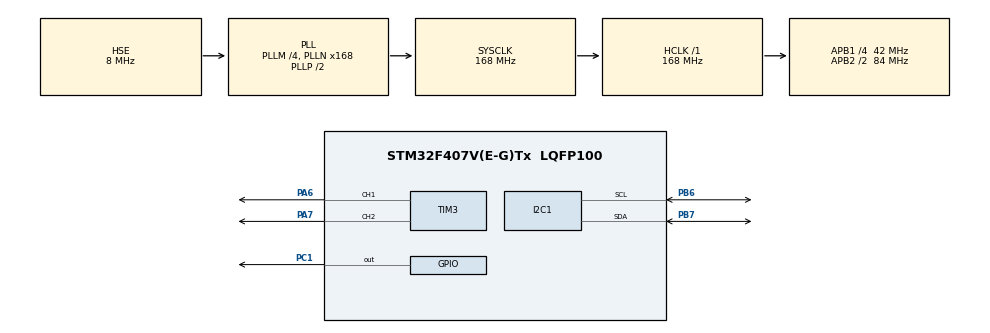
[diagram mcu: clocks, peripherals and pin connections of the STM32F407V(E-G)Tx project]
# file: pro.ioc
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Mcu.Family=STM32F4
Mcu.Name=STM32F407V(E-G)Tx
Mcu.Package=LQFP100
NVIC.PriorityGroup=NVIC_PRIORITYGROUP_4
PA6.Signal=S_TIM3_CH1
PA7.Signal=S_TIM3_CH2
PB6.Mode=I2C
PB6.Signal=I2C1_SCL
PB7.Mode=I2C
PB7.Signal=I2C1_SDA
PC1.Signal=GPIO_Output
PH0-OSC_IN.Mode=HSE-External-Oscillator
PH0-OSC_IN.Signal=RCC_OSC_IN
PH1-OSC_OUT.Mode=HSE-External-Oscillator
PH1-OSC_OUT.Signal=RCC_OSC_OUT
ProjectManager.HeapSize=0x200
ProjectManager.StackSize=0x400
ProjectManager.TargetToolchain=CMake
RCC.48MHZClocksFreq_Value=84000000
RCC.AHBFreq_Value=168000000
RCC.APB1CLKDivider=RCC_HCLK_DIV4
RCC.APB1Freq_Value=42000000
RCC.APB1TimFreq_Value=84000000
RCC.APB2CLKDivider=RCC_HCLK_DIV2
RCC.APB2Freq_Value=84000000
RCC.APB2TimFreq_Value=168000000
RCC.CortexFreq_Value=168000000
RCC.HCLKFreq_Value=168000000
RCC.HSE_VALUE=8000000
RCC.HSI_VALUE=16000000
RCC.LSE_VALUE=32768
RCC.PLLM=4
RCC.PLLN=168
RCC.PLLSourceVirtual=RCC_PLLSOURCE_HSE
RCC.SYSCLKFreq_VALUE=168000000
RCC.SYSCLKSource=RCC_SYSCLKSOURCE_PLLCLK
RCC.VCOOutputFreq_Value=336000000
SH.S_TIM3_CH1.0=TIM3_CH1,PWM Generation1 CH1
SH.S_TIM3_CH2.0=TIM3_CH2,PWM Generation2 CH2
TIM3.Channel-PWM\ Generation1\ CH1=TIM_CHANNEL_1
TIM3.Channel-PWM\ Generation2\ CH2=TIM_CHANNEL_2
board=custom

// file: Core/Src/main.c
/* USER CODE BEGIN Header */
/**
  ******************************************************************************
  * @file           : main.c
  * @brief          : Main program body
  ******************************************************************************
  * @attention
  *
  * Copyright (c) 2026 STMicroelectronics.
  * All rights reserved.
  *
  * This software is licensed under terms that can be found in the LICENSE file
  * in the root directory of this software component.
  * If no LICENSE file comes with this software, it is provided AS-IS.
  *
  ******************************************************************************
  */
/* USER CODE END Header */
#include "main.h"
#include "i2c.h"
#include "tim.h"
#include "gpio.h"

/* USER CODE BEGIN Includes */
#include "mpu6050_port.h"
#include "balance.h"
#include "motor_port.h"
/* USER CODE END Includes */

/* USER CODE BEGIN PV */
static mpu6050_t g_mpu;
static mpu6050_data_t g_mpu_data;
static mpu6050_status_t g_mpu_status;
static uint8_t g_mpu_ready;
static balance_angle_t g_balance_angle;
static balance_pd_t g_balance_pd;
static float g_balance_out;
/* 调试器里确认角度方向后再写成 1，避免上电就转 */
static uint8_t g_balance_enable = 0U;
/* USER CODE END PV */

void SystemClock_Config(void);

int main(void)
{

  /* MCU Configuration--------------------------------------------------------*/

  /* Reset of all peripherals, Initializes the Flash interface and the Systick. */
  HAL_Init();

  /* Configure the system clock */
  SystemClock_Config();

  /* Initialize all configured peripherals */
  MX_GPIO_Init();
  MX_I2C1_Init();
  MX_TIM3_Init();
  /* USER CODE BEGIN 2 */
  /*
   * AD0 接地用 MPU6050_ADDR_AD0_LOW。车体放稳后再标定零偏：
   *   mpu6050_calibrate_gyro(&g_mpu, 200);
   * 调试器里观察 g_mpu_data。静止时 accel 向量长度约 1 g，gyro 约 0。
   */
  g_mpu_status = mpu6050_port_init(&g_mpu, &hi2c1, MPU6050_ADDR_AD0_LOW, 0);
  g_mpu_ready = (g_mpu_status == MPU6050_OK) ? 1U : 0U;
  balance_angle_init(&g_balance_angle);
  balance_pd_init(&g_balance_pd);
  motor_port_init();
  /* USER CODE END 2 */

  /* Infinite loop */
  while (1)
  {

    /* USER CODE BEGIN 3 */
    if (g_mpu_ready != 0U) {
      static uint32_t s_mpu_tick = 0;
      uint32_t now = HAL_GetTick();

      /* 与默认 200 Hz 采样对齐，避免在 100 kHz I2C 上连续空转 */
      if ((now - s_mpu_tick) >= 5U) {
        float dt_s = (float)(now - s_mpu_tick) / 1000.0f;

        s_mpu_tick = now;
        g_mpu_status = mpu6050_read(&g_mpu, &g_mpu_data);
        if (g_mpu_status == MPU6050_OK) {
          g_balance_out = balance_step(&g_balance_angle, &g_balance_pd,
                                       g_mpu_data.accel_g, g_mpu_data.gyro_dps,
                                       BALANCE_GYRO_AXIS, dt_s);
          /* 使能为 0 时仍计算 g_balance_out，方便先看方向再打开电机 */
          motor_port_set((g_balance_enable != 0U) ? g_balance_out : 0.0f);
        } else {
          g_balance_out = 0.0f;
          motor_port_set(0.0f);
        }
      }
    }
  }
  /* USER CODE END 3 */
}

void SystemClock_Config(void)
{
  RCC_OscInitTypeDef RCC_OscInitStruct = {0};
  RCC_ClkInitTypeDef RCC_ClkInitStruct = {0};

  /** Configure the main internal regulator output voltage
  */
  __HAL_RCC_PWR_CLK_ENABLE();
  __HAL_PWR_VOLTAGESCALING_CONFIG(PWR_REGULATOR_VOLTAGE_SCALE1);

  /** Initializes the RCC Oscillators according to the specified parameters
  * in the RCC_OscInitTypeDef structure.
  */
  RCC_OscInitStruct.OscillatorType = RCC_OSCILLATORTYPE_HSE;
  RCC_OscInitStruct.HSEState = RCC_HSE_ON;
  RCC_OscInitStruct.PLL.PLLState = RCC_PLL_ON;
  RCC_OscInitStruct.PLL.PLLSource = RCC_PLLSOURCE_HSE;
  RCC_OscInitStruct.PLL.PLLM = 4;
  RCC_OscInitStruct.PLL.PLLN = 168;
  RCC_OscInitStruct.PLL.PLLP = RCC_PLLP_DIV2;
  RCC_OscInitStruct.PLL.PLLQ = 4;
  if (HAL_RCC_OscConfig(&RCC_OscInitStruct) != HAL_OK)
  {
    Error_Handler();
  }

  /** Initializes the CPU, AHB and APB buses clocks
  */
  RCC_ClkInitStruct.ClockType = RCC_CLOCKTYPE_HCLK|RCC_CLOCKTYPE_SYSCLK
                              |RCC_CLOCKTYPE_PCLK1|RCC_CLOCKTYPE_PCLK2;
  RCC_ClkInitStruct.SYSCLKSource = RCC_SYSCLKSOURCE_PLLCLK;
  RCC_ClkInitStruct.AHBCLKDivider = RCC_SYSCLK_DIV1;
  RCC_ClkInitStruct.APB1CLKDivider = RCC_HCLK_DIV4;
  RCC_ClkInitStruct.APB2CLKDivider = RCC_HCLK_DIV2;

  if (HAL_RCC_ClockConfig(&RCC_ClkInitStruct, FLASH_LATENCY_5) != HAL_OK)
  {
    Error_Handler();
  }
}

void Error_Handler(void)
{
  __disable_irq();
  while (1)
  {
  }
}
